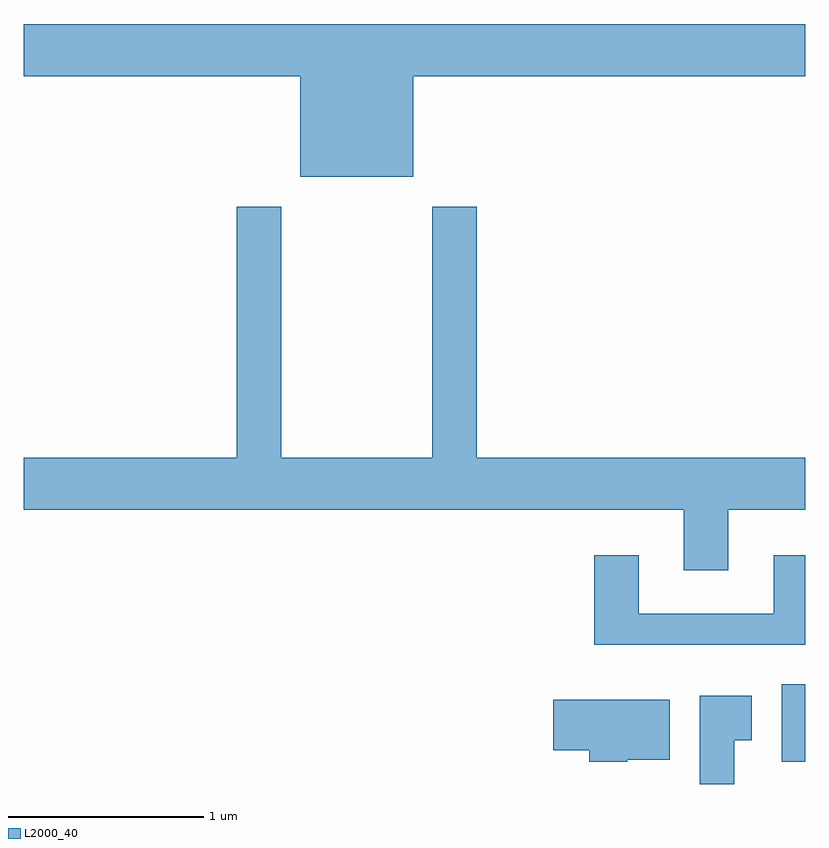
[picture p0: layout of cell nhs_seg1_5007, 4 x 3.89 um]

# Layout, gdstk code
import gdstk
lib = gdstk.Library(unit=1e-6, precision=1e-09)
def R(c, l, rs):  # rectangles x0, y0, x1, y1
    for r in rs: c.add(gdstk.rectangle(r[:2], r[2:], *l))
def P(c, l, *ps):  # polygons
    for p in ps: c.add(gdstk.Polygon(p, *l))
L2000_40 = (2000, 40)

nhs_seg1_5007 = lib.new_cell('nhs_seg1_5007')
R(nhs_seg1_5007, L2000_40, [(339.491,913.826,339.611,914.224)])
P(nhs_seg1_5007, L2000_40, [(337.604,917.336),(339.611,917.336),(339.611,917.604),(335.611,917.604),(335.611,917.336),(337.026,917.336),(337.026,916.821),(337.604,916.821)],
  [(339.219,915.116),(339.611,915.116),(339.611,915.384),(337.929,915.384),(337.929,916.669),(337.701,916.669),(337.701,915.384),(336.929,915.384),(336.929,916.669),(336.701,916.669),(336.701,915.384),(335.611,915.384),(335.611,915.116),(338.991,915.116),(338.991,914.806),(339.219,914.806)],
  [(339.611,914.884),(339.451,914.884),(339.451,914.584),(338.759,914.584),(338.759,914.884),(338.531,914.884),(338.531,914.426),(339.611,914.426)],
  [(339.249,913.936),(339.339,913.936),(339.339,914.164),(339.071,914.164),(339.071,913.712),(339.249,913.712)],
  [(338.7,913.836),(338.919,913.836),(338.919,914.144),(338.321,914.144),(338.321,913.886),(338.506,913.886),(338.506,913.826),(338.7,913.826)])

lib.write_gds('nhs_seg1_5007.gds')
